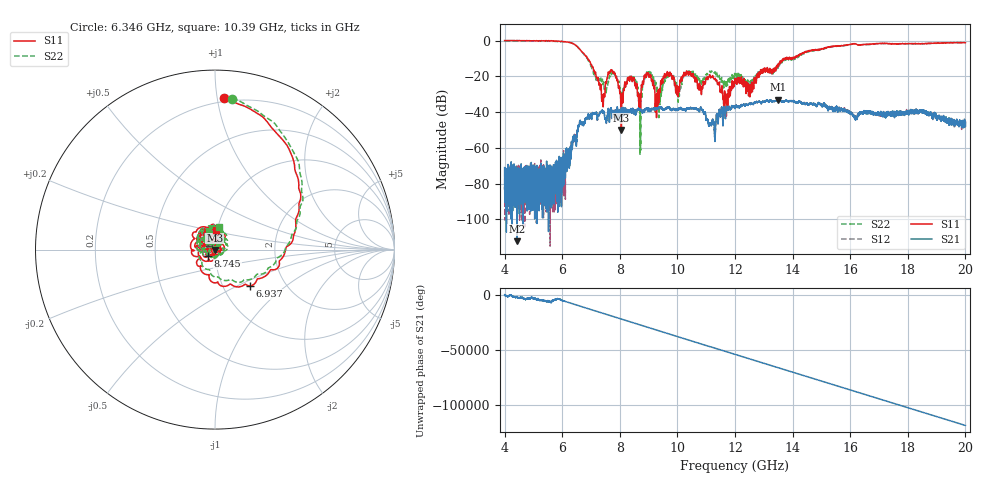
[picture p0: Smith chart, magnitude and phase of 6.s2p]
[Version] 2.0
! Rohde & Schwarz Vector Network Analyzer
! Rohde-Schwarz,ZNL20-2Port,1323001220200009,1.71.1.10-23.02.1.238
! Port Assignments:
! Nominal Port -> Actual Test Port
!  1 -> 1
!  2 -> 2
! Created: GMT+2 2025-01-17 12:08:24
# Hz S RI R 50
[Number of Ports] 2
[Two-Port Data Order] 21_12
! freq[Hz]  S11[Re]  S11[Im]  S21[Re]  S21[Im]  S12[Re]  S12[Im]  S22[Re]  S22[Im]
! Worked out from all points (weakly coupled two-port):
!   16001 points, 4 GHz to 20 GHz, reference 50 ohm
!   highest |S21| = -32.96 dB at 13.51 GHz (marker M1); lowest = -112.2 dB at 4.423 GHz (marker M2)
!   lowest |S11| = -49.9 dB at 8.055 GHz (marker M3), VSWR 1.01, Z = 49.8 - j0.262 ohm
!   |S11| at or under -10 dB: 6.887 GHz to 13.7 GHz (6.814 GHz wide, 66.2 % of centre); 13.71209 GHz to 13.74169 GHz (29.6 MHz wide, 0.216 % of centre); 13.94198 GHz to 13.96575 GHz (23.77 MHz wide, 0.17 % of centre) (the widest 3 of 9)
!   |S22| runs from -64.1 to 0.0 dB; largest |S21 - S12| = 0.0026
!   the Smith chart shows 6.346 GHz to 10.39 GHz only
!   S11 on the Smith chart (normalised r, x): 6.346 GHz: 0.17, +1.04; 6.937 GHz: 1.34, -0.59; 8.745 GHz: 0.92, -0.07; 10.39 GHz: 0.99, +0.22
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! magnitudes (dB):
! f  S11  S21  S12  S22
! 4 GHz  0.0  -71.0  -81.7  -0.2
! 4.423 GHz  0.1  -112.2  -77.8  -0.1
! 5.696 GHz  -0.1  -74.2  -75.4  -0.3
! 6.346 GHz  -1.4  -60.2  -59.3  -1.4
! 6.667 GHz  -5.9  -46.6  -45.5  -6.0
! 6.937 GHz  -11.0  -43.8  -43.9  -12.2
! 7.401 GHz  -30.4  -39.2  -39.3  -22.3
! 7.72 GHz  -16.8  -41.4  -41.3  -18.8
! 8.055 GHz  -49.9  -37.5  -37.3  -31.0
! 8.424 GHz  -22.6  -39.9  -39.8  -21.6
! 8.745 GHz  -25.4  -38.8  -39.1  -29.4
! 8.999 GHz  -20.1  -38.2  -38.2  -18.7
! 9.334 GHz  -28.0  -37.8  -37.7  -30.5
! 9.585 GHz  -20.4  -38.2  -38.0  -21.5
! 10.39 GHz  -19.2  -38.1  -37.9  -18.0
! 11.25 GHz  -21.0  -44.8  -45.0  -17.6
! 11.67 GHz  -31.0  -42.9  -43.5  -22.6
! 12 GHz  -21.3  -37.9  -37.8  -19.2
! 13.51 GHz  -14.4  -33.0  -33.1  -14.5
! 14.67 GHz  -5.4  -35.5  -35.2  -5.9
! 17.33 GHz  -1.7  -40.9  -41.4  -1.8
! 20 GHz  -1.2  -46.2  -46.0  -1.2
